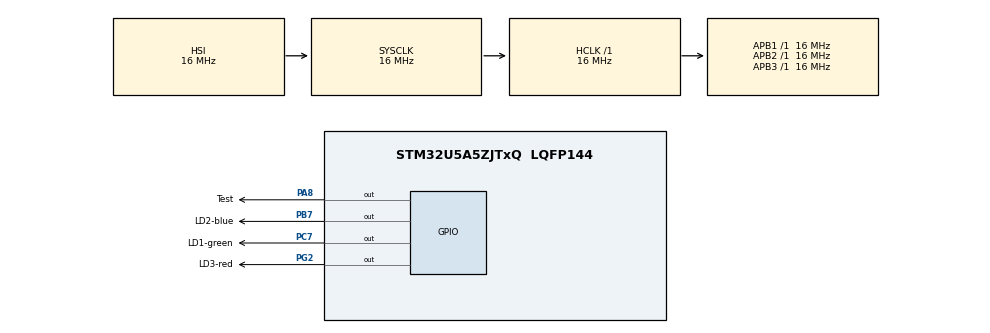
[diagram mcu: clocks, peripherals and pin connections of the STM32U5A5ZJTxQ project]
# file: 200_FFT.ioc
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CORTEX_M33_NS.AccessPermission-Cortex_Memory_Protection_Unit_Region0_Settings=MPU_REGION_PRIV_RO
CORTEX_M33_NS.AllocateAttribute0=MPU_R_ALLOCATE
CORTEX_M33_NS.AllocateAttribute1=MPU_RW_ALLOCATE
CORTEX_M33_NS.Attributes0=MPU_ATTRIBUTES_NUMBER0
CORTEX_M33_NS.Attributes1=MPU_ATTRIBUTES_NUMBER1
CORTEX_M33_NS.AttributesIndex-Cortex_Memory_Protection_Unit_Region1_Settings=MPU_ATTRIBUTES_NUMBER1
CORTEX_M33_NS.BaseAddress-Cortex_Memory_Protection_Unit_Region0_Settings=0x08000000
CORTEX_M33_NS.BaseAddress-Cortex_Memory_Protection_Unit_Region1_Settings=0x20000000
CORTEX_M33_NS.CacheableAttribute1=MPU_WRITE_BACK
CORTEX_M33_NS.Enable-Cortex_Memory_Protection_Unit_Region0_Settings=MPU_REGION_ENABLE
CORTEX_M33_NS.Enable-Cortex_Memory_Protection_Unit_Region1_Settings=MPU_REGION_ENABLE
CORTEX_M33_NS.LimitAddress-Cortex_Memory_Protection_Unit_Region0_Settings=0x083FFFFF
CORTEX_M33_NS.LimitAddress-Cortex_Memory_Protection_Unit_Region1_Settings=0x2026FFFF
CORTEX_M33_NS.MPU_Control=MPU_PRIVILEGED_DEFAULT
CORTEX_M33_NS.Memorytype0=MPU_CACHEABLE
CORTEX_M33_NS.Memorytype1=MPU_CACHEABLE
CORTEX_M33_NS.Number-Cortex_Memory_Protection_Unit_Region0_Settings=MPU_REGION_NUMBER0
CORTEX_M33_NS.Number-Cortex_Memory_Protection_Unit_Region1_Settings=MPU_REGION_NUMBER1
CORTEX_M33_NS.userName=CORTEX_M33
FLASH.B1_BLOCK_active=true
FLASH.B1_endPage=255
FLASH.B2_BLOCK_active=true
FLASH.B2_Bank=FLASH_BANK_2
FLASH.B2_endPage=255
FLASH.OB_Boot_Configuration_active_NS0=true
FLASH.OB_NSBOOTADD0_Address=0x08000000
GTZC.MPCBB1_Area_Privilege_Size=0x000C0000
GTZC.MPCBB1_SecConfig_array=00000000\:00000000\:00000000\:00000000\:00000000\:00000000\:00000000\:00000000\:00000000\:00000000\:00000000\:00000000\:00000000\:00000000\:00000000\:00000000\:00000000\:00000000\:00000000\:00000000\:00000000\:00000000\:00000000\:00000000\:00000000\:00000000\:00000000\:00000000\:00000000\:00000000\:00000000\:00000000\:00000000\:00000000\:00000000\:00000000\:00000000\:00000000\:00000000\:00000000\:00000000\:00000000\:00000000\:00000000\:00000000\:00000000\:00000000\:00000000
GTZC.MPCBB2_Area_Privilege_Size=0x00010000
GTZC.MPCBB2_PrivConfig_array=FFFFFFFF\:FFFFFFFF\:FFFFFFFF\:FFFFFFFF\:00000000\:00000000\:00000000\:00000000\:00000000\:00000000\:00000000\:00000000\:00000000\:00000000\:00000000\:00000000\:00000000\:00000000\:00000000\:00000000\:00000000\:00000000\:00000000\:00000000\:00000000\:00000000\:00000000\:00000000\:00000000\:00000000\:00000000\:00000000\:00000000\:00000000\:00000000\:00000000\:00000000\:00000000\:00000000\:00000000\:00000000\:00000000\:00000000\:00000000\:00000000\:00000000\:00000000\:00000000\:00000000\:00000000\:00000000\:00000000
GTZC.MPCBB2_SecConfig_array=00000000\:00000000\:00000000\:00000000\:00000000\:00000000\:00000000\:00000000\:00000000\:00000000\:00000000\:00000000\:00000000\:00000000\:00000000\:00000000\:00000000\:00000000\:00000000\:00000000\:00000000\:00000000\:00000000\:00000000\:00000000\:00000000\:00000000\:00000000\:00000000\:00000000\:00000000\:00000000\:00000000\:00000000\:00000000\:00000000\:00000000\:00000000\:00000000\:00000000\:00000000\:00000000\:00000000\:00000000\:00000000\:00000000\:00000000\:00000000\:00000000\:00000000\:00000000\:00000000
GTZC.MPCBB3_Area_Privilege_Size=0x000D0000
GTZC.MPCBB3_SecConfig_array=00000000\:00000000\:00000000\:00000000\:00000000\:00000000\:00000000\:00000000\:00000000\:00000000\:00000000\:00000000\:00000000\:00000000\:00000000\:00000000\:00000000\:00000000\:00000000\:00000000\:00000000\:00000000\:00000000\:00000000\:00000000\:00000000\:00000000\:00000000\:00000000\:00000000\:00000000\:00000000\:00000000\:00000000\:00000000\:00000000\:00000000\:00000000\:00000000\:00000000\:00000000\:00000000\:00000000\:00000000\:00000000\:00000000\:00000000\:00000000\:00000000\:00000000\:00000000\:00000000
GTZC.MPCBB4_PrivConfig_array=00000000
GTZC.MPCBB4_SecConfig_array=00000000
GTZC.MPCBB5_Area_Privilege_Size=0x000D0000
GTZC.MPCBB5_SecConfig_array=00000000\:00000000\:00000000\:00000000\:00000000\:00000000\:00000000\:00000000\:00000000\:00000000\:00000000\:00000000\:00000000\:00000000\:00000000\:00000000\:00000000\:00000000\:00000000\:00000000\:00000000\:00000000\:00000000\:00000000\:00000000\:00000000\:00000000\:00000000\:00000000\:00000000\:00000000\:00000000\:00000000\:00000000\:00000000\:00000000\:00000000\:00000000\:00000000\:00000000\:00000000\:00000000\:00000000\:00000000\:00000000\:00000000\:00000000\:00000000\:00000000\:00000000\:00000000\:00000000
Mcu.Family=STM32U5
Mcu.Name=STM32U5A5ZJTxQ
Mcu.Package=LQFP144
NVIC.PriorityGroup=NVIC_PRIORITYGROUP_4
PA13\ (JTMS/SWDIO).Mode=Trace_Asynchronous_SW
PA13\ (JTMS/SWDIO).Signal=DEBUG_JTMS-SWDIO
PA14\ (JTCK/SWCLK).Mode=Trace_Asynchronous_SW
PA14\ (JTCK/SWCLK).Signal=DEBUG_JTCK-SWCLK
PA8.GPIO_Label=Test
PA8.Signal=GPIO_Output
PB3\ (JTDO/TRACESWO).Mode=Trace_Asynchronous_SW
PB3\ (JTDO/TRACESWO).Signal=DEBUG_JTDO-SWO
PB7.GPIO_Label=LD2-blue
PB7.Signal=GPIO_Output
PC14-OSC32_IN\ (PC14).Mode=LSE-External-Oscillator
PC14-OSC32_IN\ (PC14).Signal=RCC_OSC32_IN
PC15-OSC32_OUT\ (PC15).Mode=LSE-External-Oscillator
PC15-OSC32_OUT\ (PC15).Signal=RCC_OSC32_OUT
PC7.GPIO_Label=LD1-green
PC7.Signal=GPIO_Output
PG2.GPIO_Label=LD3-red
PG2.Signal=GPIO_Output
PWR.PowerMode=PWR_SMPS_SUPPLY
ProjectManager.HeapSize=0x2000
ProjectManager.StackSize=0x10000
ProjectManager.TargetToolchain=STM32CubeIDE
RCC.ADCFreq_Value=16000000
RCC.AHBFreq_Value=16000000
RCC.APB1Freq_Value=16000000
RCC.APB1TimFreq_Value=16000000
RCC.APB2Freq_Value=16000000
RCC.APB2TimFreq_Value=16000000
RCC.APB3Freq_Value=16000000
RCC.CortexFreq_Value=16000000
RCC.DACCLockSelectionVirtual=RCC_DAC1CLKSOURCE_LSI
RCC.EPOD_VALUE=16000000
RCC.HCLKFreq_Value=16000000
RCC.HSE_VALUE=16000000
RCC.HSI48_VALUE=48000000
RCC.HSI_VALUE=16000000
RCC.LSIDIV_VALUE=32000
RCC.MSIClockRange=RCC_MSIRANGE_0
RCC.MSI_VALUE=48000000
RCC.PLLFRACN=0
RCC.PLLN=20
RCC.PLLSourceVirtual=RCC_PLLSOURCE_HSI
RCC.SYSCLKFreq_VALUE=16000000
RCC.SYSCLKSource=RCC_SYSCLKSOURCE_HSI
RCC.USBPHYCLockSelection=RCC_USBPHYCLKSOURCE_HSE
RCC.VCOOutputFreq_Value=320000000
STMicroelectronics.X-CUBE-ALGOBUILD.1.4.0.LibraryCcDSPOoLibraryJjDSPOoLibrary=true
VP_FLASH_SIG_Activate_FlashIP.Mode=Activate_FlashIP
VP_GTZC_VS_GTZC_Enable.Mode=GTZC_Enable
VP_ICACHE_VS_ICACHE.Mode=DirectMappedCache
VP_LPBAMQUEUE_VS_QUEUE.Mode=QUEUEMODE
VP_MEMORYMAP_VS_MEMORYMAP.Mode=CurAppReg
VP_PWR_VS_DBSignals.Mode=DisableDeadBatterySignals
VP_PWR_VS_LPOM.Mode=PowerOptimisation
VP_PWR_VS_SECSignals.Mode=Security/Privilege
VP_STMicroelectronics.X-CUBE-ALGOBUILD_VS_DSPOoLibraryJjLibrary_1.4.0_1.4.0.Mode=DSPOoLibraryJjLibrary
board=NUCLEO-U5A5ZJ-Q

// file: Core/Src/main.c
/* USER CODE BEGIN Header */
/**
  ******************************************************************************
  * @file           : main.c
  * @brief          : Main program body
  ******************************************************************************
  * @attention
  *
  * Mit diesem Programm können 3 Varianten von Fourier Transfromationen gerechnet werden.
  * Der Zeitvektor wird dabei mit Matlab generiert und in der Datei input.h definiert.
  * 1. Mit der CMSIS-DSP Bibliothek von STM32, die Funktion heisst arm_rfft_fast_f32().
  *	   Diese Variante ist auf 4096 Samples beschränkt (vgl. Dokumentation).
  * 2. Eine Diskrete Fourier Transformation gemäss KomFour Skript Seite 113 dft().
  *    Idealerweise bis 512 Samples, da die DFT sonst sehr lange dauert.
  * 3. Eine Fast Fourier Transformation gemäss KomFour Skript Seite 114 fft().
  *    Mit dieser Variante können auch 65536 Samples in 30 s gerechnet werden.
  *
  ******************************************************************************
  */
/* USER CODE END Header */
#include "main.h"
#include "flash.h"
#include "gtzc.h"
#include "icache.h"
#include "gpio.h"

/* USER CODE BEGIN Includes */
// FFT
#include <stdio.h>
#include <stdlib.h>
#include <math.h>
#include "arm_math.h"
#include "complex.h"
#include "input.h"
#include "fft.h"
/* USER CODE END Includes */

/* USER CODE BEGIN PD */
#define N 65536	// Muss 2^N sein!
/* USER CODE END PD */

/* USER CODE BEGIN PV */
// Globale Variablen
float x[N];
Complex c[N];
// CMSIS-DSP Bibliothek
float y[N];
float y_abs[N/2];
arm_rfft_fast_instance_f32 rfft;
/* USER CODE END PV */

void SystemClock_Config(void);
static void SystemPower_Config(void);
static void MPU_Config(void);

int main(void)
{

  /* MCU Configuration--------------------------------------------------------*/

  /* MPU Configuration--------------------------------------------------------*/
  MPU_Config();

  /* Reset of all peripherals, Initializes the Flash interface and the Systick. */
  HAL_Init();

  /* Configure the System Power */
  SystemPower_Config();

  /* Configure the system clock */
  SystemClock_Config();
  /* GTZC initialisation */
  MX_GTZC_Init();

  /* Initialize all configured peripherals */
  MX_GPIO_Init();
  MX_ICACHE_Init();
  MX_FLASH_Init();
  /* USER CODE BEGIN 2 */
  arm_rfft_fast_init_f32(&rfft, N);
  /* USER CODE END 2 */

  /* Infinite loop */
  /* USER CODE BEGIN WHILE */
  while (1)
  {
	  // Grüne LED
	  HAL_GPIO_TogglePin(LD1_green_GPIO_Port, LD1_green_Pin);

	  // FFT
	  // Variante 1: Max 4096 Samples - vgl. Dokumentation CMSIS-DSP v 1.10.0
	  /*arm_rfft_fast_f32(&rfft, x, y, 0);
	  // y_abs muss noch mit 1/N skaliert werden für die korrekten Amplitudenwerte!
	  arm_cmplx_mag_f32(y, y_abs, N/2);*/

	  // Variante 2: DFT (vgl. KomFour S. 113)
	  /*dft(x, c, (int)N);
	  scale(c, (int)N);
	  abs_val(c, (int)N);*/

	  // Variante 3: FFT
	  make_complex(x, c, (int)N);
	  fft(c, (int)N);
	  scale(c, (int)N);
	  abs_val(c, (int)N);

	  // Delay
	  // HAL_Delay(200);

    /* USER CODE END WHILE */

  }
}

void SystemClock_Config(void)
{
  RCC_OscInitTypeDef RCC_OscInitStruct = {0};
  RCC_ClkInitTypeDef RCC_ClkInitStruct = {0};

  /** Configure the main internal regulator output voltage
  */
  if (HAL_PWREx_ControlVoltageScaling(PWR_REGULATOR_VOLTAGE_SCALE4) != HAL_OK)
  {
    Error_Handler();
  }

  /** Initializes the CPU, AHB and APB buses clocks
  */
  RCC_OscInitStruct.OscillatorType = RCC_OSCILLATORTYPE_HSI;
  RCC_OscInitStruct.HSIState = RCC_HSI_ON;
  RCC_OscInitStruct.HSICalibrationValue = RCC_HSICALIBRATION_DEFAULT;
  RCC_OscInitStruct.PLL.PLLState = RCC_PLL_NONE;
  if (HAL_RCC_OscConfig(&RCC_OscInitStruct) != HAL_OK)
  {
    Error_Handler();
  }

  /** Initializes the CPU, AHB and APB buses clocks
  */
  RCC_ClkInitStruct.ClockType = RCC_CLOCKTYPE_HCLK|RCC_CLOCKTYPE_SYSCLK
                              |RCC_CLOCKTYPE_PCLK1|RCC_CLOCKTYPE_PCLK2
                              |RCC_CLOCKTYPE_PCLK3;
  RCC_ClkInitStruct.SYSCLKSource = RCC_SYSCLKSOURCE_HSI;
  RCC_ClkInitStruct.AHBCLKDivider = RCC_SYSCLK_DIV1;
  RCC_ClkInitStruct.APB1CLKDivider = RCC_HCLK_DIV1;
  RCC_ClkInitStruct.APB2CLKDivider = RCC_HCLK_DIV1;
  RCC_ClkInitStruct.APB3CLKDivider = RCC_HCLK_DIV1;

  if (HAL_RCC_ClockConfig(&RCC_ClkInitStruct, FLASH_LATENCY_1) != HAL_OK)
  {
    Error_Handler();
  }
}

/**
  * @brief Power Configuration
  * @retval None
  */
static void SystemPower_Config(void)
{
  HAL_PWREx_EnableVddIO2();

  /*
   * Disable the internal Pull-Up in Dead Battery pins of UCPD peripheral
   */
  HAL_PWREx_DisableUCPDDeadBattery();

  /*
   * Switch to SMPS regulator instead of LDO
   */
  if (HAL_PWREx_ConfigSupply(PWR_SMPS_SUPPLY) != HAL_OK)
  {
    Error_Handler();
  }
}

 /* MPU Configuration */

void MPU_Config(void)
{
  MPU_Region_InitTypeDef MPU_InitStruct = {0};
  MPU_Attributes_InitTypeDef MPU_AttributesInit = {0};

  /* Disables the MPU */
  HAL_MPU_Disable();

  /** Initializes and configures the Region 0 and the memory to be protected
  */
  MPU_InitStruct.Enable = MPU_REGION_ENABLE;
  MPU_InitStruct.Number = MPU_REGION_NUMBER0;
  MPU_InitStruct.BaseAddress = 0x08000000;
  MPU_InitStruct.LimitAddress = 0x083FFFFF;
  MPU_InitStruct.AttributesIndex = MPU_ATTRIBUTES_NUMBER0;
  MPU_InitStruct.AccessPermission = MPU_REGION_PRIV_RO;
  MPU_InitStruct.DisableExec = MPU_INSTRUCTION_ACCESS_ENABLE;
  MPU_InitStruct.IsShareable = MPU_ACCESS_NOT_SHAREABLE;

  HAL_MPU_ConfigRegion(&MPU_InitStruct);

  /** Initializes and configures the Region 1 and the memory to be protected
  */
  MPU_InitStruct.Number = MPU_REGION_NUMBER1;
  MPU_InitStruct.BaseAddress = 0x20000000;
  MPU_InitStruct.LimitAddress = 0x2026FFFF;
  MPU_InitStruct.AttributesIndex = MPU_ATTRIBUTES_NUMBER1;
  MPU_InitStruct.AccessPermission = MPU_REGION_PRIV_RW;

  HAL_MPU_ConfigRegion(&MPU_InitStruct);

  /** Initializes and configures the Attribute 0 and the memory to be protected
  */
  MPU_AttributesInit.Number = MPU_ATTRIBUTES_NUMBER0;
  MPU_AttributesInit.Attributes = INNER_OUTER(MPU_WRITE_THROUGH|MPU_TRANSIENT
                              |MPU_R_ALLOCATE);

  HAL_MPU_ConfigMemoryAttributes(&MPU_AttributesInit);

  /** Initializes and configures the Attribute 1 and the memory to be protected
  */
  MPU_AttributesInit.Number = MPU_ATTRIBUTES_NUMBER1;
  MPU_AttributesInit.Attributes = INNER_OUTER(MPU_WRITE_BACK|MPU_TRANSIENT
                              |MPU_RW_ALLOCATE);

  HAL_MPU_ConfigMemoryAttributes(&MPU_AttributesInit);
  /* Enables the MPU */
  HAL_MPU_Enable(MPU_PRIVILEGED_DEFAULT);

}

void Error_Handler(void)
{
  __disable_irq();
  while (1)
  {
  }
}
